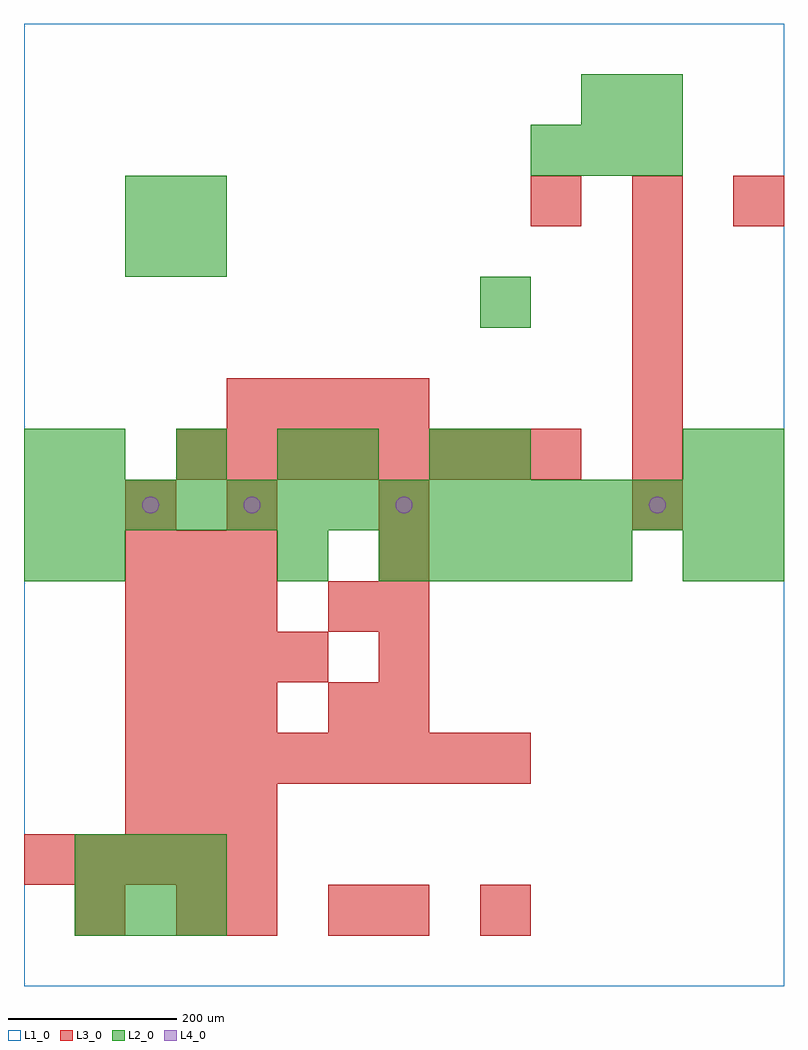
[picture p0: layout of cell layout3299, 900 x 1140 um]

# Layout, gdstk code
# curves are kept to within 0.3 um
import gdstk
lib = gdstk.Library(unit=1e-6, precision=1e-09)
def R(c, l, rs):  # rectangles x0, y0, x1, y1
    for r in rs: c.add(gdstk.rectangle(r[:2], r[2:], *l))
def A(c, l, x, y, w, h, nx, ny, dx, dy):  # array of equal rectangles
    R(c, l, [(x+i*dx, y+j*dy, x+i*dx+w, y+j*dy+h) for i in range(nx) for j in range(ny)])
def P(c, l, *ps):  # polygons
    for p in ps: c.add(gdstk.Polygon(p, *l))
L1_0 = (1, 0)
L2_0 = (2, 0)
L3_0 = (3, 0)
L4_0 = (4, 0)

layout3299 = lib.new_cell('layout3299')
R(layout3299, L1_0, [(0,0,900,1140)])
A(layout3299, L2_0, 60, 60, 60, 60, 3, 2, 60, 60)
A(layout3299, L2_0, 420, 480, 60, 60, 5, 1, 60, 0)
A(layout3299, L2_0, 0, 540, 60, 60, 15, 1, 60, 0)
A(layout3299, L2_0, 60, 600, 60, 60, 3, 1, 120, 0)
A(layout3299, L2_0, 600, 960, 60, 60, 3, 1, 60, 0)
R(layout3299, L2_0, [(0,480,60,540), (60,480,120,540), (300,480,360,540), (780,480,840,540), (840,480,900,540), (0,600,60,660), (360,600,420,660), (480,600,540,660), (540,600,600,660), (780,600,840,660), (840,600,900,660), (540,780,600,840), (120,840,180,900), (180,840,240,900), (120,900,180,960), (180,900,240,960), (660,1020,720,1080), (720,1020,780,1080)])
A(layout3299, L3_0, 0, 120, 60, 60, 5, 1, 60, 0)
A(layout3299, L3_0, 120, 180, 60, 60, 3, 3, 60, 120)
A(layout3299, L3_0, 120, 240, 60, 60, 8, 1, 60, 0)
A(layout3299, L3_0, 420, 300, 60, 60, 1, 5, 0, 60)
A(layout3299, L3_0, 120, 360, 60, 60, 4, 1, 60, 0)
A(layout3299, L3_0, 120, 480, 60, 60, 3, 1, 60, 0)
A(layout3299, L3_0, 720, 540, 60, 60, 1, 6, 0, 60)
A(layout3299, L3_0, 180, 600, 60, 60, 8, 1, 60, 0)
A(layout3299, L3_0, 240, 660, 60, 60, 4, 1, 60, 0)
A(layout3299, L3_0, 600, 900, 60, 60, 3, 1, 120, 0)
R(layout3299, L3_0, [(60,60,120,120), (180,60,240,120), (240,60,300,120), (360,60,420,120), (420,60,480,120), (540,60,600,120), (360,300,420,360), (360,420,420,480), (120,540,180,600), (240,540,300,600)])
P(layout3299, L4_0, [(160,570),(159.239,573.827),(157.071,577.071),(153.827,579.239),(150,580),(146.173,579.239),(142.929,577.071),(140.761,573.827),(140,570),(140.761,566.173),(142.929,562.929),(146.173,560.761),(150,560),(153.827,560.761),(157.071,562.929),(159.239,566.173)],
  [(280,570),(279.239,573.827),(277.071,577.071),(273.827,579.239),(270,580),(266.173,579.239),(262.929,577.071),(260.761,573.827),(260,570),(260.761,566.173),(262.929,562.929),(266.173,560.761),(270,560),(273.827,560.761),(277.071,562.929),(279.239,566.173)],
  [(460,570),(459.239,573.827),(457.071,577.071),(453.827,579.239),(450,580),(446.173,579.239),(442.929,577.071),(440.761,573.827),(440,570),(440.761,566.173),(442.929,562.929),(446.173,560.761),(450,560),(453.827,560.761),(457.071,562.929),(459.239,566.173)],
  [(760,570),(759.239,573.827),(757.071,577.071),(753.827,579.239),(750,580),(746.173,579.239),(742.929,577.071),(740.761,573.827),(740,570),(740.761,566.173),(742.929,562.929),(746.173,560.761),(750,560),(753.827,560.761),(757.071,562.929),(759.239,566.173)])

lib.write_gds('layout3299.gds')
